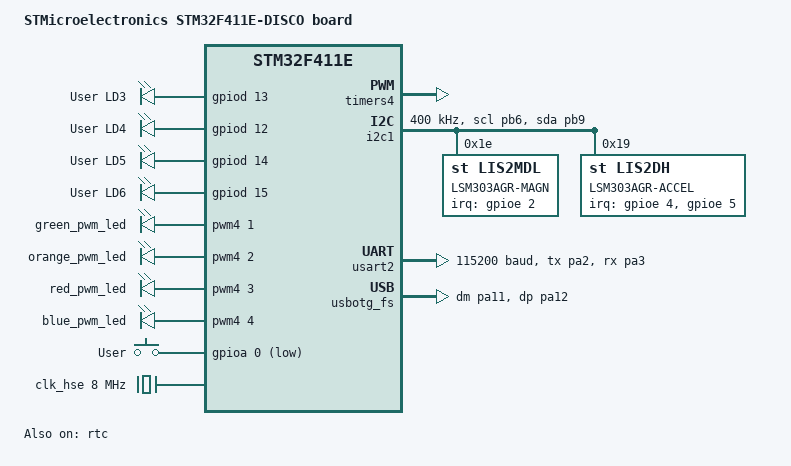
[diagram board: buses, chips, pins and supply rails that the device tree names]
/*
 * Copyright (c) 2017 Fenix Engineering Solutions
 *
 * SPDX-License-Identifier: Apache-2.0
 */

/dts-v1/;
#include <st/f4/stm32f411Xe.dtsi>
#include <st/f4/stm32f411v(c-e)tx-pinctrl.dtsi>

/ {
	model = "STMicroelectronics STM32F411E-DISCO board";
	compatible = "st,stm32f411e-disco";

	chosen {
		zephyr,console = &usart2;
		zephyr,shell-uart = &usart2;
		zephyr,sram = &sram0;
		zephyr,flash = &flash0;
	};

	leds {
		compatible = "gpio-leds";
		orange_led_3: led_3 {
			gpios = <&gpiod 13 GPIO_ACTIVE_HIGH>;
			label = "User LD3";
		};
		green_led_4: led_4 {
			gpios = <&gpiod 12 GPIO_ACTIVE_HIGH>;
			label = "User LD4";
		};
		red_led_5: led_5 {
			gpios = <&gpiod 14 GPIO_ACTIVE_HIGH>;
			label = "User LD5";
		};
		blue_led_6: led_6 {
			gpios = <&gpiod 15 GPIO_ACTIVE_HIGH>;
			label = "User LD6";
		};
	};

	pwmleds {
		compatible = "pwm-leds";
		green_pwm_led: green_pwm_led {
			pwms = <&pwm4 1 PWM_MSEC(20) PWM_POLARITY_NORMAL>;
		};
		orange_pwm_led: orange_pwm_led {
			pwms = <&pwm4 2 PWM_MSEC(20) PWM_POLARITY_NORMAL>;
		};
		red_pwm_led: red_pwm_led {
			pwms = <&pwm4 3 PWM_MSEC(20) PWM_POLARITY_NORMAL>;
		};
		blue_pwm_led: blue_pwm_led {
			pwms = <&pwm4 4 PWM_MSEC(20) PWM_POLARITY_NORMAL>;
		};
	};

	gpio_keys {
		compatible = "gpio-keys";
		user_button: button {
			label = "User";
			gpios = <&gpioa 0 GPIO_ACTIVE_LOW>;
		};
	};

	aliases {
		led0 = &orange_led_3;
		led1 = &green_led_4;
		led2 = &red_led_5;
		led3 = &blue_led_6;
		sw0 = &user_button;
		pwm-led0 = &green_pwm_led;
		pwm-led1 = &orange_pwm_led;
		pwm-led2 = &red_pwm_led;
		pwm-led3 = &blue_pwm_led;
	};
};

&clk_hse {
	clock-frequency = <DT_FREQ_M(8)>;
	status = "okay";
};

&pll {
	div-m = <4>;
	mul-n = <96>;
	div-p = <2>;
	div-q = <4>;
	clocks = <&clk_hse>;
	status = "okay";
};

&rcc {
	clocks = <&pll>;
	clock-frequency = <DT_FREQ_M(96)>;
	ahb-prescaler = <1>;
	apb1-prescaler = <2>;
	apb2-prescaler = <1>;
};

&timers4 {
	st,prescaler = <10000>;
	status = "okay";

	pwm4: pwm {
		status = "okay";
		pinctrl-0 = <&tim4_ch1_pd12
			     &tim4_ch2_pd13
			     &tim4_ch3_pd14
			     &tim4_ch4_pd15>;
		pinctrl-names = "default";
	};
};

&i2c1 {
	pinctrl-0 = <&i2c1_scl_pb6 &i2c1_sda_pb9>;
	pinctrl-names = "default";
	status = "okay";
	clock-frequency = <I2C_BITRATE_FAST>;

	lsm303agr-magn@1e {
		compatible = "st,lis2mdl", "st,lsm303agr-magn";
		status = "okay";
		reg = <0x1e>;
		irq-gpios = <&gpioe 2 GPIO_ACTIVE_HIGH>;
		label = "LSM303AGR-MAGN";
	};

	lsm303agr-accel@19 {
		compatible = "st,lis2dh", "st,lsm303agr-accel";
		status = "okay";
		reg = <0x19>;
		irq-gpios = <&gpioe 4 GPIO_ACTIVE_HIGH>,
			  <&gpioe 5 GPIO_ACTIVE_HIGH>;
		label = "LSM303AGR-ACCEL";
	};
};

&usart2 {
	pinctrl-0 = <&usart2_tx_pa2 &usart2_rx_pa3>;
	pinctrl-names = "default";
	current-speed = <115200>;
	status = "okay";
};

&rtc {
	status = "okay";
};

zephyr_udc0: &usbotg_fs {
	pinctrl-0 = <&usb_otg_fs_dm_pa11 &usb_otg_fs_dp_pa12>;
	pinctrl-names = "default";
	status = "okay";
};
